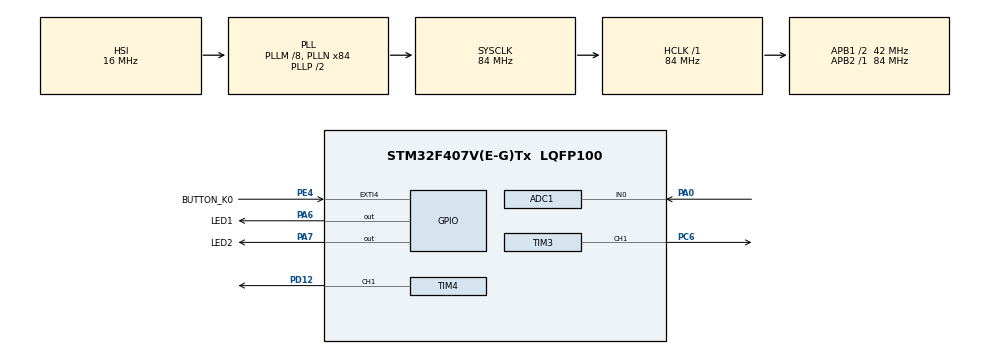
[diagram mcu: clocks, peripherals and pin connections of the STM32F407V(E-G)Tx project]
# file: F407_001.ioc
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ADC1.Channel-0\#ChannelRegularConversion=ADC_CHANNEL_0
ADC1.EOCSelection=ADC_EOC_SINGLE_CONV
ADC1.ExternalTrigConv=ADC_EXTERNALTRIGCONV_T3_TRGO
ADC1.NbrOfConversionFlag=1
ADC1.Rank-0\#ChannelRegularConversion=1
ADC1.SamplingTime-0\#ChannelRegularConversion=ADC_SAMPLETIME_3CYCLES
ADC1.master=1
Mcu.Family=STM32F4
Mcu.Name=STM32F407V(E-G)Tx
Mcu.Package=LQFP100
NVIC.ADC_IRQn=true\:0\:0\:false\:false\:true\:true\:true\:true
NVIC.EXTI4_IRQn=true\:0\:0\:false\:false\:true\:true\:true\:true
NVIC.PriorityGroup=NVIC_PRIORITYGROUP_4
NVIC.TIM3_IRQn=true\:0\:0\:false\:false\:true\:true\:true\:true
PA0-WKUP.Signal=ADCx_IN0
PA13.Mode=Serial_Wire
PA13.Signal=SYS_JTMS-SWDIO
PA14.Mode=Serial_Wire
PA14.Signal=SYS_JTCK-SWCLK
PA6.GPIO_Label=LED1
PA6.Signal=GPIO_Output
PA7.GPIO_Label=LED2
PA7.Signal=GPIO_Output
PC14-OSC32_IN.Mode=LSE-External-Oscillator
PC14-OSC32_IN.Signal=RCC_OSC32_IN
PC15-OSC32_OUT.Mode=LSE-External-Oscillator
PC15-OSC32_OUT.Signal=RCC_OSC32_OUT
PC6.Signal=S_TIM3_CH1
PD12.Signal=S_TIM4_CH1
PE4.GPIO_Label=BUTTON_K0
PE4.GPIO_PuPd=GPIO_PULLUP
PE4.Signal=GPXTI4
PH0-OSC_IN.Mode=HSE-External-Oscillator
PH0-OSC_IN.Signal=RCC_OSC_IN
PH1-OSC_OUT.Mode=HSE-External-Oscillator
PH1-OSC_OUT.Signal=RCC_OSC_OUT
ProjectManager.HeapSize=0x200
ProjectManager.StackSize=0x400
ProjectManager.TargetToolchain=STM32CubeIDE
RCC.48MHZClocksFreq_Value=42000000
RCC.AHBFreq_Value=84000000
RCC.APB1CLKDivider=RCC_HCLK_DIV2
RCC.APB1Freq_Value=42000000
RCC.APB1TimFreq_Value=84000000
RCC.APB2Freq_Value=84000000
RCC.APB2TimFreq_Value=84000000
RCC.CortexFreq_Value=84000000
RCC.HCLKFreq_Value=84000000
RCC.HSE_VALUE=25000000
RCC.HSI_VALUE=16000000
RCC.PLLM=8
RCC.PLLN=84
RCC.SYSCLKFreq_VALUE=84000000
RCC.SYSCLKSource=RCC_SYSCLKSOURCE_PLLCLK
RCC.VCOOutputFreq_Value=168000000
SH.ADCx_IN0.0=ADC1_IN0,IN0
SH.S_TIM3_CH1.0=TIM3_CH1,Output Compare1 CH1
SH.S_TIM4_CH1.0=TIM4_CH1,PWM Generation1 CH1
TIM3.Channel-Output\ Compare1\ CH1=TIM_CHANNEL_1
TIM3.Period=9999
TIM3.Prescaler=8399
TIM3.TIM_MasterOutputTrigger=TIM_TRGO_UPDATE
TIM4.Channel-PWM\ Generation1\ CH1=TIM_CHANNEL_1
TIM4.Period=1000-1
TIM4.Prescaler=84-1
board=custom

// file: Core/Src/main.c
/* USER CODE BEGIN Header */
/**
  ******************************************************************************
  * @file           : main.c
  * @brief          : Main program body
  ******************************************************************************
  * @attention
  *
  * Copyright (c) 2026 STMicroelectronics.
  * All rights reserved.
  *
  * This software is licensed under terms that can be found in the LICENSE file
  * in the root directory of this software component.
  * If no LICENSE file comes with this software, it is provided AS-IS.
  *
  ******************************************************************************
  */
/* USER CODE END Header */
#include "main.h"
#include "adc.h"
#include "tim.h"
#include "gpio.h"

/* USER CODE BEGIN Includes */
#include "mspc_event_queue.h"
#include "dispatcher.h"
#include "finite_state_machine.h"
#include "led_implementation.h"
/* USER CODE END Includes */

void SystemClock_Config(void);

int main(void)
{

  /* USER CODE BEGIN 1 */
  queue_init();
  event_t active_event;
  /* USER CODE END 1 */

  /* MCU Configuration--------------------------------------------------------*/

  /* Reset of all peripherals, Initializes the Flash interface and the Systick. */
  HAL_Init();

  /* Configure the system clock */
  SystemClock_Config();

  /* Initialize all configured peripherals */
  MX_GPIO_Init();
  MX_ADC1_Init();
  MX_TIM3_Init();
  MX_TIM4_Init();
  /* USER CODE BEGIN 2 */
  Led1.Off();
  Led2.Off();

  if (HAL_ADC_Start_IT(&hadc1) != HAL_OK)
  {
      Error_Handler();
  }

  if (HAL_TIM_Base_Start(&htim3) != HAL_OK)
  {
      Error_Handler();
  }

  if (HAL_TIM_PWM_Start(&htim4, TIM_CHANNEL_1) != HAL_OK)
  {
	  Error_Handler();
  }
  /* USER CODE END 2 */

  /* Infinite loop */
  /* USER CODE BEGIN WHILE */
  while (1)
  {
	  // if there's something in the queue, pop it off and dispatch the handler
	  while (queue_pop_main(&active_event))
	  {
		  dispatch_event(active_event.type, active_event.payload);
	  }

	  __WFI();

    /* USER CODE END WHILE */

  }
}

void SystemClock_Config(void)
{
  RCC_OscInitTypeDef RCC_OscInitStruct = {0};
  RCC_ClkInitTypeDef RCC_ClkInitStruct = {0};

  /** Configure the main internal regulator output voltage
  */
  __HAL_RCC_PWR_CLK_ENABLE();
  __HAL_PWR_VOLTAGESCALING_CONFIG(PWR_REGULATOR_VOLTAGE_SCALE1);

  /** Initializes the RCC Oscillators according to the specified parameters
  * in the RCC_OscInitTypeDef structure.
  */
  RCC_OscInitStruct.OscillatorType = RCC_OSCILLATORTYPE_HSI;
  RCC_OscInitStruct.HSIState = RCC_HSI_ON;
  RCC_OscInitStruct.HSICalibrationValue = RCC_HSICALIBRATION_DEFAULT;
  RCC_OscInitStruct.PLL.PLLState = RCC_PLL_ON;
  RCC_OscInitStruct.PLL.PLLSource = RCC_PLLSOURCE_HSI;
  RCC_OscInitStruct.PLL.PLLM = 8;
  RCC_OscInitStruct.PLL.PLLN = 84;
  RCC_OscInitStruct.PLL.PLLP = RCC_PLLP_DIV2;
  RCC_OscInitStruct.PLL.PLLQ = 4;
  if (HAL_RCC_OscConfig(&RCC_OscInitStruct) != HAL_OK)
  {
    Error_Handler();
  }

  /** Initializes the CPU, AHB and APB buses clocks
  */
  RCC_ClkInitStruct.ClockType = RCC_CLOCKTYPE_HCLK|RCC_CLOCKTYPE_SYSCLK
                              |RCC_CLOCKTYPE_PCLK1|RCC_CLOCKTYPE_PCLK2;
  RCC_ClkInitStruct.SYSCLKSource = RCC_SYSCLKSOURCE_PLLCLK;
  RCC_ClkInitStruct.AHBCLKDivider = RCC_SYSCLK_DIV1;
  RCC_ClkInitStruct.APB1CLKDivider = RCC_HCLK_DIV2;
  RCC_ClkInitStruct.APB2CLKDivider = RCC_HCLK_DIV1;

  if (HAL_RCC_ClockConfig(&RCC_ClkInitStruct, FLASH_LATENCY_2) != HAL_OK)
  {
    Error_Handler();
  }
}

/* USER CODE BEGIN 4 */
void HAL_ADC_ConvCpltCallback(ADC_HandleTypeDef* hadc)
{
    if (hadc->Instance == ADC1)
    {
    	uint32_t adc_value = HAL_ADC_GetValue(hadc);
    	queue_push_from_isr(EVT_ADC_CONVERSION_SENSOR_2, adc_value);
    }
}

void HAL_GPIO_EXTI_Callback(uint16_t GPIO_Pin)
{
	if (GPIO_Pin == BUTTON_K0_Pin)
	{
		queue_push_from_isr(EVT_EXINT_BUTTON, 0);
	}
}

/* USER CODE END 4 */

void Error_Handler(void)
{
  __disable_irq();
  while (1)
  {
  }
}
